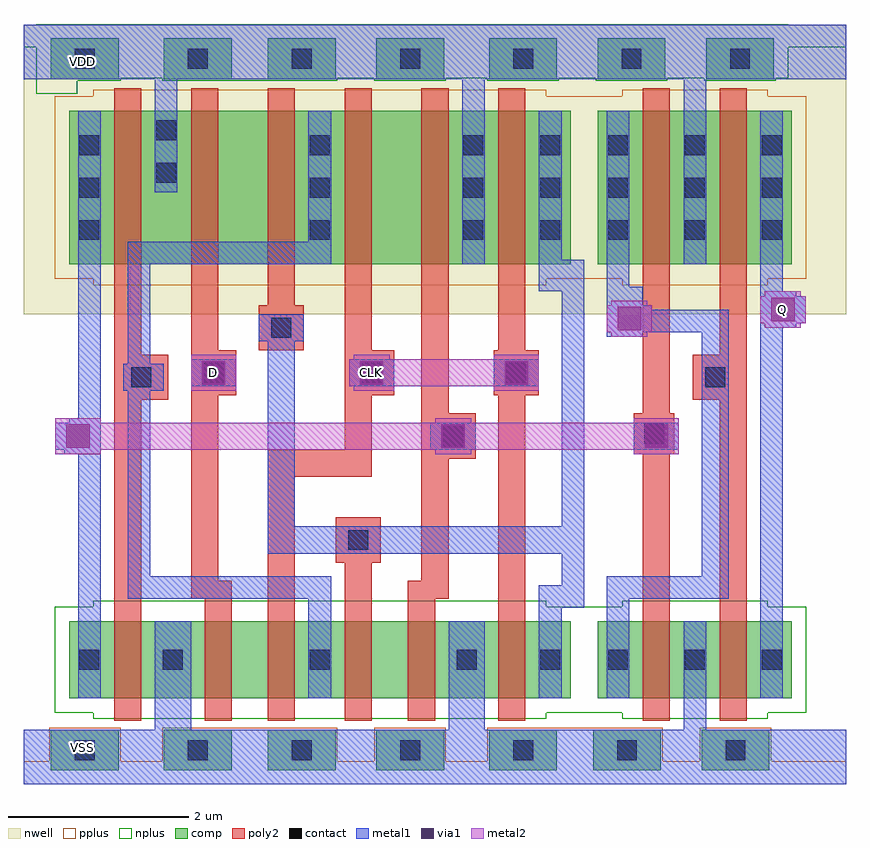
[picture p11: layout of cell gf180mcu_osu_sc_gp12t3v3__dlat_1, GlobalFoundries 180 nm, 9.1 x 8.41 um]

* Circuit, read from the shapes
.subckt gf180mcu_osu_sc_gp12t3v3__dlat_1 CLK D Q VDD VSS
XM1 VSS n1 n2 VSS nfet_03v3 w=0.85u l=0.3u
XM2 n3 D VSS VSS nfet_03v3 w=0.85u l=0.3u
XM3 n1 CLK n3 VSS nfet_03v3 w=0.85u l=0.3u
XM4 n4 n5 n1 VSS nfet_03v3 w=0.85u l=0.3u
XM5 VSS n2 n4 VSS nfet_03v3 w=0.85u l=0.3u
XM6 n5 CLK VSS VSS nfet_03v3 w=0.85u l=0.3u
XM7 VSS n2 n6 VSS nfet_03v3 w=0.85u l=0.3u
XM8 Q n6 VSS VSS nfet_03v3 w=0.85u l=0.3u
XM9 VDD n1 n2 VDD pfet_03v3 w=1.7u l=0.3u
XM10 n7 D VDD VDD pfet_03v3 w=1.7u l=0.3u
XM11 n1 n5 n7 VDD pfet_03v3 w=1.7u l=0.3u
XM12 n8 CLK n1 VDD pfet_03v3 w=1.7u l=0.3u
XM13 VDD n2 n8 VDD pfet_03v3 w=1.7u l=0.3u
XM14 n5 CLK VDD VDD pfet_03v3 w=1.7u l=0.3u
XM15 VDD n2 n6 VDD pfet_03v3 w=1.7u l=0.3u
XM16 Q n6 VDD VDD pfet_03v3 w=1.7u l=0.3u
.ends

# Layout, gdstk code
import gdstk
lib = gdstk.Library(unit=1e-6, precision=1e-09)
def R(c, l, rs):  # rectangles x0, y0, x1, y1
    for r in rs: c.add(gdstk.rectangle(r[:2], r[2:], *l))
def A(c, l, x, y, w, h, nx, ny, dx, dy):  # array of equal rectangles
    R(c, l, [(x+i*dx, y+j*dy, x+i*dx+w, y+j*dy+h) for i in range(nx) for j in range(ny)])
nwell = (21, 0)
comp = (22, 0)
poly2 = (30, 0)
pplus = (31, 0)
nplus = (32, 0)
contact = (33, 0)
metal1 = (34, 0)
via1 = (35, 0)
metal2 = (36, 0)

gf180mcu_osu_sc_gp12t3v3 = lib.new_cell('gf180mcu_osu_sc_gp12t3v3__dlat_1')
R(gf180mcu_osu_sc_gp12t3v3, nwell, [(0,5.2,9.1,8.4)])
A(gf180mcu_osu_sc_gp12t3v3, comp, 5.15, 7.8, 0.75, 0.45, 3, 1, 1.2, 0)
R(gf180mcu_osu_sc_gp12t3v3, comp, [(0.3,0.15,1.05,0.6), (1.55,0.15,2.3,0.6), (2.7,0.15,3.45,0.6), (3.9,0.15,4.65,0.6), (5.15,0.15,5.9,0.6), (6.3,0.15,7.05,0.6), (7.5,0.15,8.25,0.6), (0.5,0.95,6.05,1.8), (6.35,0.95,8.5,1.8), (0.5,5.75,6.05,7.45), (6.35,5.75,8.5,7.45), (0.3,7.8,1.05,8.25), (1.55,7.8,2.3,8.25), (2.7,7.8,3.45,8.25), (3.9,7.8,4.65,8.25)])
A(gf180mcu_osu_sc_gp12t3v3, poly2, 1.85, 4.8, 0.3, 2.9, 3, 1, 1.7, 0)
R(gf180mcu_osu_sc_gp12t3v3, poly2, [(1,0.7,1.3,4.25), (2,0.7,2.3,2.05), (2.7,0.7,3,3.4), (3.55,0.7,3.85,2.45), (4.25,0.7,4.55,2.05), (5.25,0.7,5.55,4.3), (6.85,0.7,7.15,3.65), (7.7,0.7,8,4.25), (1.85,2.05,2.3,2.25), (4.25,2.05,4.7,2.25), (1.85,2.25,2.15,4.3), (4.4,2.25,4.7,3.6), (3.45,2.45,3.95,2.95), (2.7,3.4,3.85,3.7), (4.4,3.6,5,4.1), (6.75,3.65,7.2,4.1), (3.55,3.7,3.85,4.3), (4.4,4.1,4.7,7.7), (6.85,4.1,7.15,7.7), (1,4.25,1.6,4.75), (7.4,4.25,8,4.75), (1.85,4.3,2.35,4.8), (3.55,4.3,4.1,4.8), (5.2,4.3,5.7,4.8), (1,4.75,1.3,7.7), (7.7,4.75,8,7.7), (2.6,4.8,3.1,5.3), (2.7,5.3,3,7.7)])
A(gf180mcu_osu_sc_gp12t3v3, pplus, 0.28, 0.13, 0.79, 0.49, 3, 1, 3.6, 0)
R(gf180mcu_osu_sc_gp12t3v3, pplus, [(0,0,9.1,0.25), (1.53,0.13,3.47,0.62), (5.13,0.13,7.07,0.62), (0.77,5.52,5.78,5.59), (6.62,5.52,8.23,5.59), (0.34,5.59,8.66,7.61), (0.77,7.61,5.78,7.68), (6.62,7.61,8.23,7.68)])
A(gf180mcu_osu_sc_gp12t3v3, nplus, 5.13, 7.78, 0.79, 0.03, 3, 1, 1.2, 0)
R(gf180mcu_osu_sc_gp12t3v3, nplus, [(0.77,0.72,5.78,0.79), (6.62,0.72,8.23,0.79), (0.34,0.79,8.66,1.96), (0.77,1.96,5.78,2.03), (6.62,1.96,8.23,2.03), (0.14,7.64,0.59,7.78), (0.14,7.78,1.07,7.81), (1.53,7.78,3.47,7.81), (3.88,7.78,4.67,7.81), (0.14,7.81,8.46,8.15), (0,8.15,9.1,8.4), (0,8.15,9.1,8.4), (0.14,8.4,8.46,8.41)])
A(gf180mcu_osu_sc_gp12t3v3, contact, 1.54, 1.265, 0.22, 0.22, 3, 1, 1.625, 0)
A(gf180mcu_osu_sc_gp12t3v3, contact, 6.465, 1.265, 0.22, 0.22, 3, 2, 0.85, 4.755)
A(gf180mcu_osu_sc_gp12t3v3, contact, 0.615, 6.02, 0.22, 0.22, 1, 3, 0, 0.47)
A(gf180mcu_osu_sc_gp12t3v3, contact, 3.165, 6.02, 0.22, 0.22, 1, 3, 0, 0.47)
A(gf180mcu_osu_sc_gp12t3v3, contact, 4.865, 6.02, 0.22, 0.22, 1, 3, 0, 0.47)
A(gf180mcu_osu_sc_gp12t3v3, contact, 5.715, 6.02, 0.22, 0.22, 1, 3, 0, 0.47)
A(gf180mcu_osu_sc_gp12t3v3, contact, 6.465, 6.49, 0.22, 0.22, 3, 2, 0.85, 0.47)
A(gf180mcu_osu_sc_gp12t3v3, contact, 5.415, 7.915, 0.22, 0.22, 3, 1, 1.2, 0)
R(gf180mcu_osu_sc_gp12t3v3, contact, [(0.565,0.265,0.785,0.485), (1.815,0.265,2.035,0.485), (2.965,0.265,3.185,0.485), (4.165,0.265,4.385,0.485), (5.415,0.265,5.635,0.485), (6.565,0.265,6.785,0.485), (7.765,0.265,7.985,0.485), (0.615,1.265,0.835,1.485), (5.715,1.265,5.935,1.485), (3.59,2.59,3.81,2.81), (4.64,3.74,4.86,3.96), (6.865,3.765,7.085,3.985), (1.19,4.39,1.41,4.61), (7.54,4.39,7.76,4.61), (1.99,4.44,2.21,4.66), (3.74,4.44,3.96,4.66), (5.34,4.44,5.56,4.66), (2.74,4.94,2.96,5.16), (1.465,6.655,1.685,6.875), (1.465,7.125,1.685,7.345), (0.565,7.915,0.785,8.135), (1.815,7.915,2.035,8.135), (2.965,7.915,3.185,8.135), (4.165,7.915,4.385,8.135)])
R(gf180mcu_osu_sc_gp12t3v3, metal1, [(0,0,9.1,0.6), (1.45,0.6,1.85,1.8), (4.7,0.6,5.1,1.8), (7.3,0.6,7.55,1.8), (0.6,0.95,0.85,3.65), (3.15,0.95,3.4,2.05), (5.7,0.95,5.95,1.95), (6.45,0.95,6.7,2.05), (8.15,0.95,8.4,5.05), (5.7,1.95,6.2,2.2), (1.15,2.05,3.4,2.3), (6.45,2.05,7.8,2.3), (5.95,2.2,6.2,2.55), (1.15,2.3,1.4,4.35), (7.5,2.3,7.8,5), (2.7,2.55,6.2,2.85), (2.7,2.85,3,4.9), (5.95,2.85,6.2,5.45), (0.45,3.65,0.85,3.7), (0.35,3.7,0.85,4), (4.5,3.7,5,4), (6.75,3.7,7.25,4), (0.5,4,0.85,4.05), (0.6,4.05,0.85,7.45), (1.1,4.35,1.55,4.65), (1.85,4.4,2.35,4.7), (3.6,4.4,4.1,4.7), (5.2,4.4,5.7,4.7), (1.15,4.65,1.4,5.75), (2.6,4.9,3.1,5.2), (6.45,4.95,6.85,5), (6.45,5,7.8,5.25), (8.15,5.05,8.55,5.1), (8.15,5.1,8.65,5.4), (6.45,5.25,6.95,5.3), (6.45,5.3,6.85,5.5), (8.15,5.4,8.55,5.45), (5.7,5.45,6.2,5.8), (8.15,5.45,8.4,7.45), (6.45,5.5,6.7,7.45), (1.15,5.75,3.4,6), (4.85,5.75,5.1,7.8), (7.3,5.75,7.55,7.8), (5.7,5.8,5.95,7.45), (3.15,6,3.4,7.45), (1.45,6.55,1.7,7.8), (0,7.8,9.1,8.4)])
R(gf180mcu_osu_sc_gp12t3v3, via1, [(0.47,3.72,0.73,3.98), (4.62,3.72,4.88,3.98), (6.87,3.72,7.13,3.98), (1.97,4.42,2.23,4.68), (3.72,4.42,3.98,4.68), (5.32,4.42,5.58,4.68), (6.57,5.02,6.83,5.28), (8.27,5.12,8.53,5.38)])
R(gf180mcu_osu_sc_gp12t3v3, metal2, [(0.35,3.65,0.85,3.7), (4.55,3.65,4.95,3.7), (6.75,3.65,7.25,3.7), (0.35,3.7,7.25,4), (0.35,4,0.85,4.05), (4.55,4,4.95,4.05), (6.75,4,7.25,4.05), (1.85,4.35,2.35,4.75), (3.65,4.35,4.1,4.4), (5.2,4.35,5.7,4.4), (3.6,4.4,5.7,4.7), (3.65,4.7,4.05,4.75), (5.2,4.7,5.7,4.75), (6.5,4.95,6.9,5), (6.45,5,6.95,5.3), (8.2,5.05,8.6,5.1), (8.15,5.1,8.65,5.4), (6.5,5.3,6.9,5.35), (8.2,5.4,8.6,5.45)])
gf180mcu_osu_sc_gp12t3v3.add(gdstk.Label('D', (2.1,4.55), layer=36, texttype=10))
gf180mcu_osu_sc_gp12t3v3.add(gdstk.Label('CLK', (3.85,4.55), layer=36, texttype=10))
gf180mcu_osu_sc_gp12t3v3.add(gdstk.Label('Q', (8.4,5.25), layer=36, texttype=10))
gf180mcu_osu_sc_gp12t3v3.add(gdstk.Label('VDD', (0.65,8), layer=34, texttype=10))
gf180mcu_osu_sc_gp12t3v3.add(gdstk.Label('VSS', (0.65,0.4), layer=34, texttype=10))

lib.write_gds('gf180mcu_osu_sc_gp12t3v3__dlat_1.gds')
